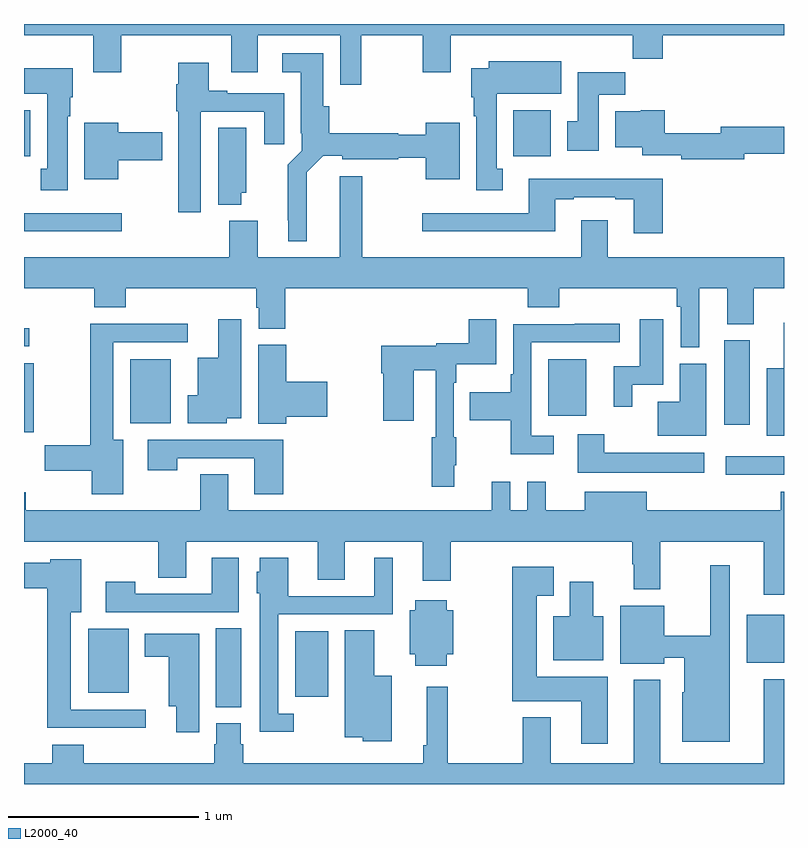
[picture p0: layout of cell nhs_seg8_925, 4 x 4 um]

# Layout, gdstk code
import gdstk
lib = gdstk.Library(unit=1e-6, precision=1e-09)
def R(c, l, rs):  # rectangles x0, y0, x1, y1
    for r in rs: c.add(gdstk.rectangle(r[:2], r[2:], *l))
def P(c, l, *ps):  # polygons
    for p in ps: c.add(gdstk.Polygon(p, *l))
L2000_40 = (2000, 40)

nhs_seg8_925 = lib.new_cell('nhs_seg8_925')
R(nhs_seg8_925, L2000_40, [(172.01,1106.305,172.144,1106.72), (172.427,1106.36,172.6,1106.704), (171.338,1106.381,171.55,1106.716), (174.803,1106.537,175,1106.791), (174.693,1107.528,175,1107.624), (171,1107.752,171.052,1108.114), (174.686,1107.792,174.82,1108.236), (171.56,1107.8,171.772,1108.135), (173.759,1107.839,173.959,1108.135), (171,1108.203,171.028,1108.299), (171,1108.808,171.514,1108.905), (171,1109.204,171.034,1109.446), (173.576,1109.204,173.773,1109.446)])
P(nhs_seg8_925, L2000_40, [(171,1109.84),(171.365,1109.84),(171.365,1109.646),(171.513,1109.646),(171.513,1109.84),(172.091,1109.84),(172.091,1109.646),(172.231,1109.646),(172.231,1109.84),(172.665,1109.84),(172.665,1109.58),(172.774,1109.58),(172.774,1109.84),(173.098,1109.84),(173.098,1109.646),(173.245,1109.646),(173.245,1109.84),(174.205,1109.84),(174.205,1109.716),(174.362,1109.716),(174.362,1109.84),(175,1109.84),(175,1109.9),(171,1109.9)],
  [(172.489,1109.12),(172.575,1109.207),(172.674,1109.207),(172.674,1109.188),(172.971,1109.188),(172.971,1109.196),(173.114,1109.196),(173.114,1109.084),(173.293,1109.084),(173.293,1109.38),(173.114,1109.38),(173.114,1109.317),(172.971,1109.317),(172.971,1109.324),(172.607,1109.324),(172.607,1109.466),(172.576,1109.466),(172.576,1109.746),(172.359,1109.746),(172.359,1109.645),(172.457,1109.645),(172.457,1109.326),(172.461,1109.326),(172.461,1109.232),(172.387,1109.158),(172.387,1108.867),(172.391,1108.867),(172.391,1108.757),(172.489,1108.757)],
  [(173.521,1109.138),(173.488,1109.138),(173.488,1109.534),(173.827,1109.534),(173.827,1109.704),(173.447,1109.704),(173.447,1109.668),(173.354,1109.668),(173.354,1109.514),(173.366,1109.514),(173.366,1109.414),(173.381,1109.414),(173.381,1109.025),(173.521,1109.025)],
  [(171.931,1109.439),(172.265,1109.439),(172.265,1109.268),(172.369,1109.268),(172.369,1109.535),(172.069,1109.535),(172.069,1109.548),(171.973,1109.548),(171.973,1109.695),(171.812,1109.695),(171.812,1109.582),(171.8,1109.582),(171.8,1109.442),(171.812,1109.442),(171.812,1108.908),(171.931,1108.908)],
  [(171.229,1109.414),(171.244,1109.414),(171.244,1109.514),(171.256,1109.514),(171.256,1109.668),(171,1109.668),(171,1109.534),(171.122,1109.534),(171.122,1109.138),(171.089,1109.138),(171.089,1109.025),(171.229,1109.025)],
  [(174.025,1109.528),(174.164,1109.528),(174.164,1109.646),(173.915,1109.646),(173.915,1109.388),(173.858,1109.388),(173.858,1109.232),(174.025,1109.232)],
  [(174.792,1109.216),(175,1109.216),(175,1109.358),(174.668,1109.358),(174.668,1109.324),(174.372,1109.324),(174.372,1109.446),(174.246,1109.446),(174.246,1109.44),(174.113,1109.44),(174.113,1109.252),(174.254,1109.252),(174.254,1109.208),(174.46,1109.208),(174.46,1109.188),(174.792,1109.188)],
  [(171.496,1109.183),(171.727,1109.183),(171.727,1109.33),(171.496,1109.33),(171.496,1109.38),(171.317,1109.38),(171.317,1109.084),(171.496,1109.084)],
  [(172.144,1109.013),(172.171,1109.013),(172.171,1109.354),(172.022,1109.354),(172.022,1108.949),(172.144,1108.949)],
  [(174.553,1108.508),(174.701,1108.508),(174.701,1108.321),(174.841,1108.321),(174.841,1108.508),(175,1108.508),(175,1108.672),(174.073,1108.672),(174.073,1108.867),(173.933,1108.867),(173.933,1108.672),(172.779,1108.672),(172.779,1109.098),(172.661,1109.098),(172.661,1108.672),(172.231,1108.672),(172.231,1108.864),(172.079,1108.864),(172.079,1108.672),(171,1108.672),(171,1108.508),(171.371,1108.508),(171.371,1108.409),(171.536,1108.409),(171.536,1108.508),(172.223,1108.508),(172.223,1108.407),(172.235,1108.407),(172.235,1108.297),(172.376,1108.297),(172.376,1108.508),(173.651,1108.508),(173.651,1108.409),(173.816,1108.409),(173.816,1108.508),(174.436,1108.508),(174.436,1108.412),(174.456,1108.412),(174.456,1108.2),(174.553,1108.2)],
  [(174.362,1109.086),(173.657,1109.086),(173.657,1108.905),(173.097,1108.905),(173.097,1108.808),(173.797,1108.808),(173.797,1108.977),(173.893,1108.977),(173.893,1108.989),(174.113,1108.989),(174.113,1108.977),(174.209,1108.977),(174.209,1108.8),(174.362,1108.8)],
  [(173.264,1107.577),(173.275,1107.577),(173.275,1107.725),(173.262,1107.725),(173.262,1108.013),(173.275,1108.013),(173.275,1108.109),(173.485,1108.109),(173.485,1108.345),(173.342,1108.345),(173.342,1108.219),(173.169,1108.219),(173.169,1108.207),(172.88,1108.207),(172.88,1108.061),(172.892,1108.061),(172.892,1107.813),(173.05,1107.813),(173.05,1108.078),(173.166,1108.078),(173.166,1107.725),(173.146,1107.725),(173.146,1107.465),(173.264,1107.465)],
  [(174.202,1108.002),(174.364,1108.002),(174.364,1108.345),(174.242,1108.345),(174.242,1108.098),(174.104,1108.098),(174.104,1107.885),(174.202,1107.885)],
  [(172.068,1107.824),(172.144,1107.824),(172.144,1108.345),(172.022,1108.345),(172.022,1108.144),(171.914,1108.144),(171.914,1107.946),(171.863,1107.946),(171.863,1107.8),(172.068,1107.8)],
  [(175,1108.327),(174.998,1108.327),(174.998,1108.087),(174.908,1108.087),(174.908,1107.734),(175,1107.734)],
  [(171.523,1107.712),(171.469,1107.712),(171.469,1108.224),(171.862,1108.224),(171.862,1108.322),(171.349,1108.322),(171.349,1107.683),(171.108,1107.683),(171.108,1107.548),(171.356,1107.548),(171.356,1107.426),(171.523,1107.426)],
  [(173.788,1107.732),(173.67,1107.732),(173.67,1108.224),(174.136,1108.224),(174.136,1108.322),(173.899,1108.322),(173.899,1108.32),(173.574,1108.32),(173.574,1108.057),(173.562,1108.057),(173.562,1107.961),(173.347,1107.961),(173.347,1107.814),(173.562,1107.814),(173.562,1107.635),(173.788,1107.635)],
  [(172.379,1107.833),(172.597,1107.833),(172.597,1108.016),(172.379,1108.016),(172.379,1108.212),(172.232,1108.212),(172.232,1107.796),(172.379,1107.796)],
  [(174.592,1108.111),(174.452,1108.111),(174.452,1107.913),(174.335,1107.913),(174.335,1107.734),(174.592,1107.734)],
  [(174.58,1107.643),(174.055,1107.643),(174.055,1107.742),(173.915,1107.742),(173.915,1107.539),(174.58,1107.539)],
  [(172.364,1107.711),(171.651,1107.711),(171.651,1107.552),(171.807,1107.552),(171.807,1107.615),(172.211,1107.615),(172.211,1107.426),(172.364,1107.426)],
  [(175,1107.439),(174.983,1107.439),(174.983,1107.34),(174.277,1107.34),(174.277,1107.439),(173.951,1107.439),(173.951,1107.34),(173.747,1107.34),(173.747,1107.49),(173.649,1107.49),(173.649,1107.34),(173.559,1107.34),(173.559,1107.49),(173.462,1107.49),(173.462,1107.34),(172.075,1107.34),(172.075,1107.53),(171.928,1107.53),(171.928,1107.34),(171.01,1107.34),(171.01,1107.436),(171,1107.436),(171,1107.176),(171.706,1107.176),(171.706,1106.986),(171.853,1106.986),(171.853,1107.176),(172.547,1107.176),(172.547,1106.974),(172.687,1106.974),(172.687,1107.176),(173.099,1107.176),(173.099,1106.97),(173.247,1106.97),(173.247,1107.176),(174.202,1107.176),(174.202,1107.056),(174.209,1107.056),(174.209,1106.924),(174.349,1106.924),(174.349,1107.176),(174.893,1107.176),(174.893,1106.895),(175,1106.895)],
  [(172.42,1106.271),(172.338,1106.271),(172.338,1106.793),(172.942,1106.793),(172.942,1107.091),(172.844,1107.091),(172.844,1106.889),(172.39,1106.889),(172.39,1107.091),(172.241,1107.091),(172.241,1107.018),(172.226,1107.018),(172.226,1106.904),(172.242,1106.904),(172.242,1106.174),(172.42,1106.174)],
  [(172.129,1107.091),(171.989,1107.091),(171.989,1106.901),(171.585,1106.901),(171.585,1106.965),(171.429,1106.965),(171.429,1106.805),(172.129,1106.805)],
  [(171.64,1106.292),(171.247,1106.292),(171.247,1106.804),(171.301,1106.804),(171.301,1107.082),(171.138,1107.082),(171.138,1107.064),(171,1107.064),(171,1106.93),(171.122,1106.93),(171.122,1106.195),(171.64,1106.195)],
  [(174.715,1107.052),(174.611,1107.052),(174.611,1106.681),(174.37,1106.681),(174.37,1106.839),(174.137,1106.839),(174.137,1106.534),(174.37,1106.534),(174.37,1106.564),(174.476,1106.564),(174.476,1106.382),(174.464,1106.382),(174.464,1106.123),(174.715,1106.123)],
  [(174.073,1106.464),(173.698,1106.464),(173.698,1106.891),(173.788,1106.891),(173.788,1107.043),(173.569,1107.043),(173.569,1106.336),(173.933,1106.336),(173.933,1106.112),(174.073,1106.112)],
  [(174.049,1106.782),(173.995,1106.782),(173.995,1106.965),(173.873,1106.965),(173.873,1106.782),(173.786,1106.782),(173.786,1106.552),(174.049,1106.552)],
  [(173.226,1106.582),(173.26,1106.582),(173.26,1106.815),(173.226,1106.815),(173.226,1106.866),(173.06,1106.866),(173.06,1106.815),(173.03,1106.815),(173.03,1106.582),(173.06,1106.582),(173.06,1106.522),(173.226,1106.522)],
  [(172.936,1106.47),(172.843,1106.47),(172.843,1106.708),(172.688,1106.708),(172.688,1106.147),(172.782,1106.147),(172.782,1106.126),(172.936,1106.126)],
  [(171.922,1106.692),(171.635,1106.692),(171.635,1106.57),(171.761,1106.57),(171.761,1106.309),(171.8,1106.309),(171.8,1106.172),(171.922,1106.172)],
  [(175,1106.452),(174.893,1106.452),(174.893,1106.008),(174.349,1106.008),(174.349,1106.449),(174.209,1106.449),(174.209,1106.008),(173.773,1106.008),(173.773,1106.251),(173.626,1106.251),(173.626,1106.008),(173.23,1106.008),(173.23,1106.413),(173.12,1106.413),(173.12,1106.104),(173.101,1106.104),(173.101,1106.008),(172.154,1106.008),(172.154,1106.109),(172.141,1106.109),(172.141,1106.22),(172.013,1106.22),(172.013,1106.109),(172.001,1106.109),(172.001,1106.008),(171.314,1106.008),(171.314,1106.107),(171.149,1106.107),(171.149,1106.008),(171,1106.008),(171,1105.9),(175,1105.9)])

lib.write_gds('nhs_seg8_925.gds')
